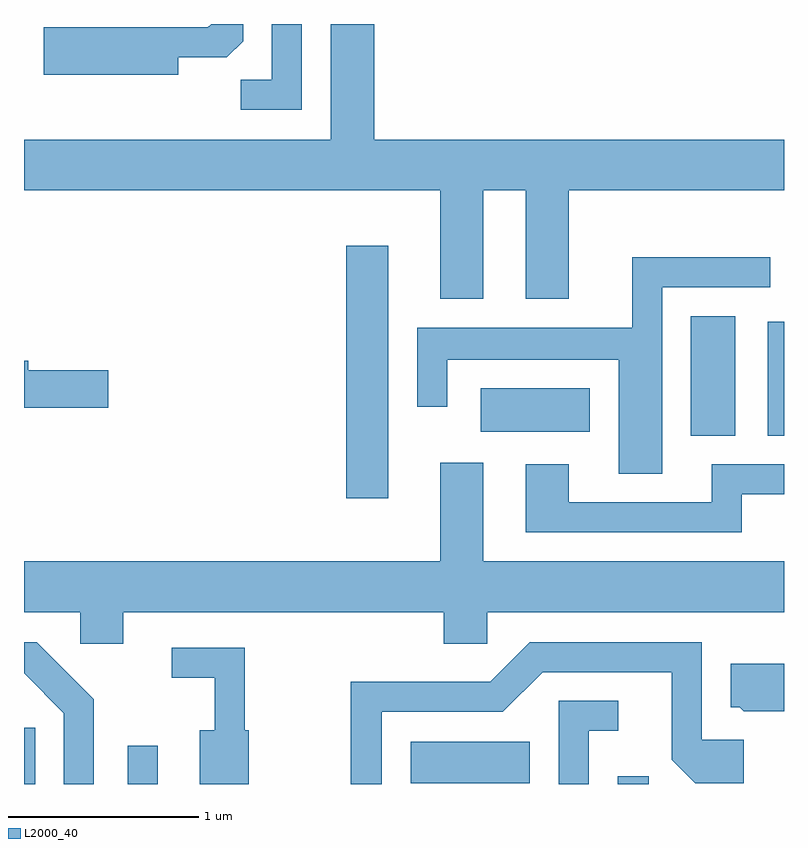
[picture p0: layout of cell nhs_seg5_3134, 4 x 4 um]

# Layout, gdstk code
import gdstk
lib = gdstk.Library(unit=1e-6, precision=1e-09)
def R(c, l, rs):  # rectangles x0, y0, x1, y1
    for r in rs: c.add(gdstk.rectangle(r[:2], r[2:], *l))
def P(c, l, *ps):  # polygons
    for p in ps: c.add(gdstk.Polygon(p, *l))
L2000_40 = (2000, 40)

nhs_seg5_3134 = lib.new_cell('nhs_seg5_3134')
R(nhs_seg5_3134, L2000_40, [(277.611,1498.072,277.669,1498.369), (278.156,1498.072,278.314,1498.273), (280.736,1498.072,280.899,1498.113), (279.646,1498.076,280.274,1498.294), (279.306,1499.576,279.529,1500.904), (281.121,1499.906,281.354,1500.534), (281.526,1499.906,281.611,1500.504), (280.016,1499.926,280.589,1500.154)])
P(nhs_seg5_3134, L2000_40, [(280.029,1501.196),(280.251,1501.196),(280.251,1500.626),(280.479,1500.626),(280.479,1501.196),(281.611,1501.196),(281.611,1501.464),(279.454,1501.464),(279.454,1502.072),(279.226,1502.072),(279.226,1501.464),(277.611,1501.464),(277.611,1501.196),(279.801,1501.196),(279.801,1500.626),(280.029,1500.626)],
  [(279.074,1502.072),(278.916,1502.072),(278.916,1501.779),(278.753,1501.779),(278.753,1501.621),(279.074,1501.621)],
  [(278.424,1501.896),(278.679,1501.896),(278.764,1501.982),(278.764,1502.072),(278.596,1502.072),(278.579,1502.054),(277.716,1502.054),(277.716,1501.806),(278.424,1501.806)],
  [(280.969,1500.686),(281.538,1500.686),(281.538,1500.844),(280.811,1500.844),(280.811,1500.474),(279.681,1500.474),(279.681,1500.058),(279.839,1500.058),(279.839,1500.306),(280.741,1500.306),(280.741,1499.706),(280.969,1499.706)],
  [(278.054,1500.249),(277.634,1500.249),(277.634,1500.299),(277.611,1500.299),(277.611,1500.051),(278.054,1500.051)],
  [(278.134,1498.976),(279.821,1498.976),(279.821,1498.811),(280.049,1498.811),(280.049,1498.976),(281.611,1498.976),(281.611,1499.244),(280.029,1499.244),(280.029,1499.764),(279.801,1499.764),(279.801,1499.244),(277.611,1499.244),(277.611,1498.976),(277.906,1498.976),(277.906,1498.811),(278.134,1498.811)],
  [(281.389,1499.596),(281.611,1499.596),(281.611,1499.754),(281.231,1499.754),(281.231,1499.554),(280.479,1499.554),(280.479,1499.754),(280.251,1499.754),(280.251,1499.396),(281.389,1499.396)],
  [(277.979,1498.517),(277.677,1498.819),(277.611,1498.819),(277.611,1498.654),(277.821,1498.444),(277.821,1498.072),(277.979,1498.072)],
  [(279.494,1498.451),(280.132,1498.451),(280.342,1498.661),(281.021,1498.661),(281.021,1498.199),(281.144,1498.076),(281.399,1498.076),(281.399,1498.304),(281.179,1498.304),(281.179,1498.819),(280.274,1498.819),(280.064,1498.609),(279.331,1498.609),(279.331,1498.072),(279.494,1498.072)],
  [(278.794,1498.354),(278.774,1498.354),(278.774,1498.789),(278.388,1498.789),(278.388,1498.631),(278.616,1498.631),(278.616,1498.354),(278.536,1498.354),(278.536,1498.072),(278.794,1498.072)],
  [(281.611,1498.704),(281.331,1498.704),(281.331,1498.476),(281.379,1498.476),(281.399,1498.456),(281.611,1498.456)],
  [(280.584,1498.351),(280.738,1498.351),(280.738,1498.509),(280.426,1498.509),(280.426,1498.072),(280.584,1498.072)])

lib.write_gds('nhs_seg5_3134.gds')
